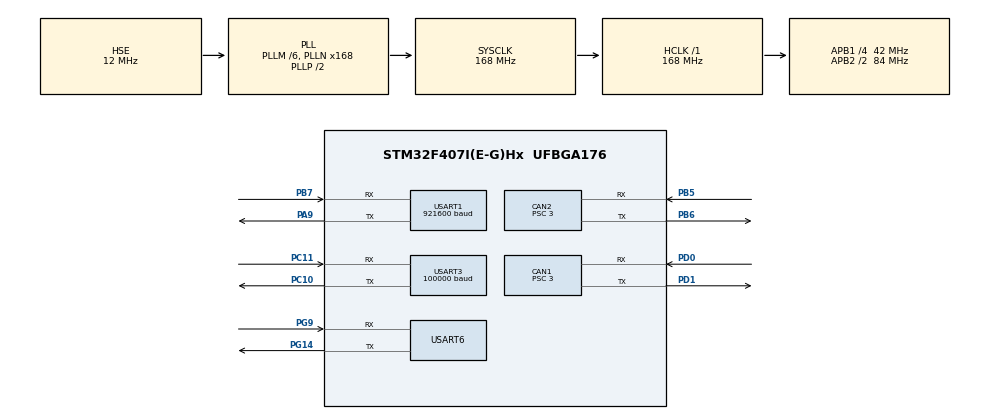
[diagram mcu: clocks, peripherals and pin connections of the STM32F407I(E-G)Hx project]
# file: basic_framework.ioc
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CAN1.BS1=CAN_BS1_10TQ
CAN1.BS2=CAN_BS2_3TQ
CAN1.CalculateBaudRate=1000000
CAN1.CalculateTimeBit=1000
CAN1.CalculateTimeQuantum=71.42857142857143
CAN1.Prescaler=3
CAN2.BS1=CAN_BS1_10TQ
CAN2.BS2=CAN_BS2_3TQ
CAN2.CalculateBaudRate=1000000
CAN2.CalculateTimeBit=1000
CAN2.CalculateTimeQuantum=71.42857142857143
CAN2.Prescaler=3
Dma.Request0=USART3_RX
Dma.Request1=USART1_RX
Dma.Request2=USART6_RX
Dma.Request3=USART6_TX
Dma.USART1_RX.1.Direction=DMA_PERIPH_TO_MEMORY
Dma.USART1_RX.1.FIFOMode=DMA_FIFOMODE_ENABLE
Dma.USART1_RX.1.FIFOThreshold=DMA_FIFO_THRESHOLD_FULL
Dma.USART1_RX.1.Instance=DMA2_Stream2
Dma.USART1_RX.1.MemBurst=DMA_MBURST_SINGLE
Dma.USART1_RX.1.MemDataAlignment=DMA_MDATAALIGN_BYTE
Dma.USART1_RX.1.MemInc=DMA_MINC_ENABLE
Dma.USART1_RX.1.Mode=DMA_NORMAL
Dma.USART1_RX.1.PeriphBurst=DMA_PBURST_SINGLE
Dma.USART1_RX.1.PeriphDataAlignment=DMA_PDATAALIGN_BYTE
Dma.USART1_RX.1.PeriphInc=DMA_PINC_DISABLE
Dma.USART1_RX.1.Priority=DMA_PRIORITY_VERY_HIGH
Dma.USART3_RX.0.Direction=DMA_PERIPH_TO_MEMORY
Dma.USART3_RX.0.FIFOMode=DMA_FIFOMODE_ENABLE
Dma.USART3_RX.0.FIFOThreshold=DMA_FIFO_THRESHOLD_FULL
Dma.USART3_RX.0.Instance=DMA1_Stream1
Dma.USART3_RX.0.MemBurst=DMA_MBURST_SINGLE
Dma.USART3_RX.0.MemDataAlignment=DMA_MDATAALIGN_BYTE
Dma.USART3_RX.0.MemInc=DMA_MINC_ENABLE
Dma.USART3_RX.0.Mode=DMA_NORMAL
Dma.USART3_RX.0.PeriphBurst=DMA_PBURST_SINGLE
Dma.USART3_RX.0.PeriphDataAlignment=DMA_PDATAALIGN_BYTE
Dma.USART3_RX.0.PeriphInc=DMA_PINC_DISABLE
Dma.USART3_RX.0.Priority=DMA_PRIORITY_HIGH
Dma.USART6_RX.2.Direction=DMA_PERIPH_TO_MEMORY
Dma.USART6_RX.2.FIFOMode=DMA_FIFOMODE_ENABLE
Dma.USART6_RX.2.FIFOThreshold=DMA_FIFO_THRESHOLD_FULL
Dma.USART6_RX.2.Instance=DMA2_Stream1
Dma.USART6_RX.2.MemBurst=DMA_MBURST_SINGLE
Dma.USART6_RX.2.MemDataAlignment=DMA_MDATAALIGN_BYTE
Dma.USART6_RX.2.MemInc=DMA_MINC_ENABLE
Dma.USART6_RX.2.Mode=DMA_NORMAL
Dma.USART6_RX.2.PeriphBurst=DMA_PBURST_SINGLE
Dma.USART6_RX.2.PeriphDataAlignment=DMA_PDATAALIGN_BYTE
Dma.USART6_RX.2.PeriphInc=DMA_PINC_DISABLE
Dma.USART6_RX.2.Priority=DMA_PRIORITY_VERY_HIGH
Dma.USART6_TX.3.Direction=DMA_MEMORY_TO_PERIPH
Dma.USART6_TX.3.FIFOMode=DMA_FIFOMODE_ENABLE
Dma.USART6_TX.3.FIFOThreshold=DMA_FIFO_THRESHOLD_FULL
Dma.USART6_TX.3.Instance=DMA2_Stream6
Dma.USART6_TX.3.MemBurst=DMA_MBURST_SINGLE
Dma.USART6_TX.3.MemDataAlignment=DMA_MDATAALIGN_BYTE
Dma.USART6_TX.3.MemInc=DMA_MINC_ENABLE
Dma.USART6_TX.3.Mode=DMA_NORMAL
Dma.USART6_TX.3.PeriphBurst=DMA_PBURST_SINGLE
Dma.USART6_TX.3.PeriphDataAlignment=DMA_PDATAALIGN_BYTE
Dma.USART6_TX.3.PeriphInc=DMA_PINC_DISABLE
Dma.USART6_TX.3.Priority=DMA_PRIORITY_VERY_HIGH
FREERTOS.Tasks01=defaultTask,0,128,StartDefaultTask,Default,NULL,Dynamic,NULL,NULL;conroltask,-3,128,ControlTask,As external,NULL,Dynamic,NULL,NULL;chassistask,-3,128,ChassisTask,As external,NULL,Dynamic,NULL,NULL;watchingtask,2,128,WatchingTask,As external,NULL,Dynamic,NULL,NULL
IWDG.Prescaler=IWDG_PRESCALER_4
IWDG.Reload=799
Mcu.Family=STM32F4
Mcu.Name=STM32F407I(E-G)Hx
Mcu.Package=UFBGA176
NVIC.CAN1_RX0_IRQn=true\:5\:0\:false\:false\:true\:true\:true\:true\:true
NVIC.CAN1_RX1_IRQn=true\:5\:0\:false\:false\:true\:true\:true\:true\:true
NVIC.CAN2_RX0_IRQn=true\:5\:0\:false\:false\:true\:true\:true\:true\:true
NVIC.CAN2_RX1_IRQn=true\:5\:0\:false\:false\:true\:true\:true\:true\:true
NVIC.DMA1_Stream1_IRQn=true\:5\:0\:false\:false\:true\:true\:false\:true\:true
NVIC.DMA2_Stream1_IRQn=true\:5\:0\:false\:false\:true\:true\:false\:true\:true
NVIC.DMA2_Stream2_IRQn=true\:5\:0\:false\:false\:true\:true\:false\:true\:true
NVIC.DMA2_Stream6_IRQn=true\:5\:0\:false\:false\:true\:true\:false\:true\:true
NVIC.PriorityGroup=NVIC_PRIORITYGROUP_4
NVIC.USART1_IRQn=true\:5\:0\:false\:false\:true\:true\:true\:true\:true
NVIC.USART3_IRQn=true\:5\:0\:false\:false\:true\:true\:true\:true\:true
NVIC.USART6_IRQn=true\:5\:0\:false\:false\:true\:true\:true\:true\:true
PA13.Mode=Serial_Wire
PA13.Signal=SYS_JTMS-SWDIO
PA14.Mode=Serial_Wire
PA14.Signal=SYS_JTCK-SWCLK
PA9.Mode=Asynchronous
PA9.Signal=USART1_TX
PB5.Mode=CAN_Activate
PB5.Signal=CAN2_RX
PB6.Mode=CAN_Activate
PB6.Signal=CAN2_TX
PB7.Mode=Asynchronous
PB7.Signal=USART1_RX
PC10.GPIO_PuPd=GPIO_NOPULL
PC10.Mode=Asynchronous
PC10.Signal=USART3_TX
PC11.GPIO_PuPd=GPIO_NOPULL
PC11.Mode=Asynchronous
PC11.Signal=USART3_RX
PC14-OSC32_IN.Mode=LSE-External-Oscillator
PC14-OSC32_IN.Signal=RCC_OSC32_IN
PC15-OSC32_OUT.Mode=LSE-External-Oscillator
PC15-OSC32_OUT.Signal=RCC_OSC32_OUT
PD0.Mode=CAN_Activate
PD0.Signal=CAN1_RX
PD1.Mode=CAN_Activate
PD1.Signal=CAN1_TX
PG14.Mode=Asynchronous
PG14.Signal=USART6_TX
PG9.Mode=Asynchronous
PG9.Signal=USART6_RX
PH0-OSC_IN.Mode=HSE-External-Oscillator
PH0-OSC_IN.Signal=RCC_OSC_IN
PH1-OSC_OUT.Mode=HSE-External-Oscillator
PH1-OSC_OUT.Signal=RCC_OSC_OUT
ProjectManager.HeapSize=0x200
ProjectManager.StackSize=0x400
ProjectManager.TargetToolchain=Makefile
RCC.48MHZClocksFreq_Value=84000000
RCC.AHBFreq_Value=168000000
RCC.APB1CLKDivider=RCC_HCLK_DIV4
RCC.APB1Freq_Value=42000000
RCC.APB1TimFreq_Value=84000000
RCC.APB2CLKDivider=RCC_HCLK_DIV2
RCC.APB2Freq_Value=84000000
RCC.APB2TimFreq_Value=168000000
RCC.CortexFreq_Value=168000000
RCC.HCLKFreq_Value=168000000
RCC.HSE_VALUE=12000000
RCC.HSI_VALUE=16000000
RCC.PLLM=6
RCC.PLLN=168
RCC.PLLSourceVirtual=RCC_PLLSOURCE_HSE
RCC.SYSCLKFreq_VALUE=168000000
RCC.SYSCLKSource=RCC_SYSCLKSOURCE_PLLCLK
RCC.VCOOutputFreq_Value=336000000
USART1.BaudRate=921600
USART1.Mode=MODE_TX_RX
USART1.VirtualMode=VM_ASYNC
USART3.BaudRate=100000
USART3.Mode=MODE_RX
USART3.Parity=PARITY_EVEN
USART3.VirtualMode=VM_ASYNC
USART6.VirtualMode=VM_ASYNC
VP_FREERTOS_VS_CMSIS_V1.Mode=CMSIS_V1
VP_IWDG_VS_IWDG.Mode=IWDG_Activate
board=custom

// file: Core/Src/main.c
/* USER CODE BEGIN Header */
/**
  ******************************************************************************
  * @file           : main.c
  * @brief          : Main program body
  ******************************************************************************
  * @attention
  *
  * Copyright (c) 2024 STMicroelectronics.
  * All rights reserved.
  *
  * This software is licensed under terms that can be found in the LICENSE file
  * in the root directory of this software component.
  * If no LICENSE file comes with this software, it is provided AS-IS.
  *
  ******************************************************************************
  */
/* USER CODE END Header */
#include "main.h"
#include "cmsis_os.h"
#include "can.h"
#include "dma.h"
#include "iwdg.h"
#include "usart.h"
#include "gpio.h"

/* USER CODE BEGIN Includes */
#include "DR16.h"
#include "IMU.h"
#include "ecoder.h"
#include "contor.h"
/* USER CODE END Includes */

/* USER CODE BEGIN PTD */
// 全局变量定义：用于存储各模块的数据指针和状态
RC_Ctl_t *psbus;                    // 遥控器数据指针（SBUS解析后的结果）
AHRS_FEED *imu_feed;                // IMU姿态数据指针（AHRS数据包解析后的结果）
uint8_t *subsbuff;                  // SBUS原始数据缓冲区指针（用于DMA接收）
uint8_t *imubuff;                   // IMU原始数据缓冲区指针（用于DMA接收，128字节）
uint8_t *imusgbuff;                 // IMU备用缓冲区指针（未使用）
uint8_t *watchrevbuff;              // 视觉接收数据缓冲区指针（用于DMA接收，128字节）
uint16_t count;                     // 计数器（未使用）
IMU_RX_STATE_e imu_rx_stata = AHRSWAITING;  // IMU接收状态（等待状态）
EcoderInstance *ecoder;             // 编码器实例指针（用于底盘角度测量）
Chassic_Ctrl_Cmd *chassis_data;     // 底盘控制命令指针（未使用）
uint8_t Rc_Start = 0;               // 遥控器数据接收标志（在UART IDLE中断中置位）
RC_Ctl_t *rcdata;                   // 遥控器数据指针（获取遥控器数据结构体）
uint16_t Keys = 0;                  // 键盘按键值（未使用）
/* USER CODE END PTD */

void SystemClock_Config(void);
void MX_FREERTOS_Init(void);

/**
  * @brief  应用程序入口点
  * @retval int（实际不会返回）
  *
  * 功能说明：
  * 这是STM32程序的入口函数，执行流程如下：
  * 1. 初始化HAL库
  * 2. 配置系统时钟
  * 3. 初始化外设（GPIO、DMA、UART、CAN、看门狗等）
  * 4. 获取各模块数据缓冲区指针
  * 5. 初始化整车控制模块
  * 6. 启动UART DMA接收
  * 7. 初始化FreeRTOS并启动调度器
  *
  * 注意：启动调度器后，程序不会返回到main函数
  */
int main(void)
{

  /* MCU Configuration--------------------------------------------------------*/

  /* 复位所有外设，初始化Flash接口和Systick
  * HAL_Init()会：
  * 1. 配置Flash预取指和指令缓存
  * 2. 配置SysTick定时器（用于HAL_Delay）
  * 3. 配置NVIC优先级分组
  */
  HAL_Init();

  /* 配置系统时钟
  * 将系统时钟配置为168MHz
  * APB1：42MHz，APB2：84MHz
  */
  SystemClock_Config();

  /* Initialize all configured peripherals */
  // 初始化所有配置的外设
  MX_GPIO_Init();              // GPIO初始化：配置LED、按键等GPIO引脚
  MX_DMA_Init();               // DMA初始化：配置DMA控制器，用于UART和CAN的数据传输
  MX_USART3_UART_Init();       // USART3初始化：遥控器通信（SBUS协议，256字节）
  MX_IWDG_Init();              // 看门狗初始化：防止程序死锁，需要定期喂狗
  MX_CAN1_Init();              // CAN1初始化：电机通信总线1
  MX_USART1_UART_Init();       // USART1初始化：IMU通信（AHRS协议，128字节）
  MX_USART6_UART_Init();       // USART6初始化：视觉通信（自定义协议，128字节）
  MX_CAN2_Init();              // CAN2初始化：电机通信总线2
  /* USER CODE BEGIN 2 */
  // 获取各模块的数据缓冲区指针
  imubuff = GetRxAHRBuff();          // 获取IMU接收缓冲区（128字节）
  subsbuff = GiveSbusBuff();         // 获取SBUS接收缓冲区（256字节）
  rcdata = GetRCData();              // 获取遥控器数据结构体指针
  watchrevbuff = GetWatchingRevBufff();  // 获取视觉接收缓冲区（128字节）
  Keys = rcdata->key[0].keys;        // 获取键盘按键值（未使用）
  // imusgbuff = Getsgbuff();        // 备用缓冲区（未使用）
  // imu_feed = GetAHRSFeed();       // IMU数据指针（未使用）
  // chassis_data = GetChassisCmd(); // 底盘命令指针（未使用）

  // 初始化整车控制模块：初始化底盘、云台、射击、视觉模块
  ControlInit();

  // 启动UART DMA接收（IDLE中断模式）
  // USART6：视觉数据接收，128字节，IDLE中断触发数据处理
  HAL_UARTEx_ReceiveToIdle_DMA(&huart6, watchrevbuff, 128);  // 启动DMA接收
  __HAL_DMA_DISABLE_IT(huart6.hdmarx, DMA_IT_HT);            // 禁用半传输中断，只需要传输完成中断

  // USART1：IMU数据接收，128字节，IDLE中断触发数据处理
  HAL_UARTEx_ReceiveToIdle_DMA(&huart1, imubuff, 128);       // 启动DMA接收
  __HAL_DMA_DISABLE_IT(huart1.hdmarx, DMA_IT_HT);            // 禁用半传输中断

  // USART3：遥控器数据接收，256字节，IDLE中断触发数据处理
  HAL_UARTEx_ReceiveToIdle_DMA(&huart3, subsbuff, 256);      // 启动DMA接收
  __HAL_DMA_DISABLE_IT(huart3.hdmarx,DMA_IT_HT);             // 禁用半传输中断

  // while (HAL_UART_Receive(&huart1, watchrev, 1, 5) != HAL_OK);

  /* USER CODE END 2 */

  /* Call init function for freertos objects (in freertos.c) */
  MX_FREERTOS_Init();

  /* Start scheduler */
  osKernelStart();

  /* We should never get here as control is now taken by the scheduler */
  /* Infinite loop */
   while (1)
  {

  }
}

/**
  * @brief  系统时钟配置函数
  * @retval None
  *
  * 功能说明：
  * 配置STM32F407的系统时钟，包括：
  * 1. 外部高速时钟（HSE）：8MHz
  * 2. 内部低速时钟（LSI）：用于看门狗
  * 3. PLL倍频：将HSE倍频到168MHz
  * 4. 系统时钟：168MHz
  * 5. APB1时钟：42MHz（HCLK/4）
  * 6. APB2时钟：84MHz（HCLK/2）
  *
  * 时钟树：
  * HSE(8MHz) -> PLL(×168/6 = 28MHz) -> SYSCLK(168MHz)
  * SYSCLK -> HCLK(168MHz) -> APB1(42MHz), APB2(84MHz)
  */
void SystemClock_Config(void)
{
  RCC_OscInitTypeDef RCC_OscInitStruct = {0};  // 振荡器初始化结构体
  RCC_ClkInitTypeDef RCC_ClkInitStruct = {0};  // 时钟初始化结构体

  /** 配置主内部稳压器输出电压
  * 电压等级1：1.8V，用于168MHz系统时钟
  */
  __HAL_RCC_PWR_CLK_ENABLE();                              // 使能PWR时钟
  __HAL_PWR_VOLTAGESCALING_CONFIG(PWR_REGULATOR_VOLTAGE_SCALE1);  // 配置电压等级1

  /** 初始化RCC振荡器
  * 根据RCC_OscInitTypeDef结构体中的参数配置振荡器
  */
  RCC_OscInitStruct.OscillatorType = RCC_OSCILLATORTYPE_LSI|RCC_OSCILLATORTYPE_HSE;  // 使用LSI和HSE
  RCC_OscInitStruct.HSEState = RCC_HSE_ON;                 // 使能外部高速时钟（8MHz）
  RCC_OscInitStruct.LSIState = RCC_LSI_ON;                 // 使能内部低速时钟（用于看门狗）
  RCC_OscInitStruct.PLL.PLLState = RCC_PLL_ON;             // 使能PLL
  RCC_OscInitStruct.PLL.PLLSource = RCC_PLLSOURCE_HSE;     // PLL源选择HSE
  RCC_OscInitStruct.PLL.PLLM = 6;                          // PLLM分频系数：HSE/6 = 8MHz/6 = 1.33MHz
  RCC_OscInitStruct.PLL.PLLN = 168;                        // PLLN倍频系数：1.33MHz × 168 = 224MHz
  RCC_OscInitStruct.PLL.PLLP = RCC_PLLP_DIV2;              // PLLP分频系数：224MHz/2 = 112MHz（实际使用168MHz，需要调整）
  RCC_OscInitStruct.PLL.PLLQ = 4;                          // PLLQ分频系数：用于USB等外设
  if (HAL_RCC_OscConfig(&RCC_OscInitStruct) != HAL_OK)
  {
    Error_Handler();  // 配置失败，进入错误处理
  }

  /** 初始化CPU、AHB和APB总线时钟
  * 配置系统时钟和各总线时钟分频
  */
  RCC_ClkInitStruct.ClockType = RCC_CLOCKTYPE_HCLK|RCC_CLOCKTYPE_SYSCLK
                              |RCC_CLOCKTYPE_PCLK1|RCC_CLOCKTYPE_PCLK2;  // 配置所有时钟类型
  RCC_ClkInitStruct.SYSCLKSource = RCC_SYSCLKSOURCE_PLLCLK;  // 系统时钟源选择PLL
  RCC_ClkInitStruct.AHBCLKDivider = RCC_SYSCLK_DIV1;         // AHB时钟分频：不分频（168MHz）
  RCC_ClkInitStruct.APB1CLKDivider = RCC_HCLK_DIV4;          // APB1时钟分频：4分频（42MHz）
  RCC_ClkInitStruct.APB2CLKDivider = RCC_HCLK_DIV2;          // APB2时钟分频：2分频（84MHz）

  // 配置Flash延迟：168MHz需要5个等待周期
  if (HAL_RCC_ClockConfig(&RCC_ClkInitStruct, FLASH_LATENCY_5) != HAL_OK)
  {
    Error_Handler();  // 配置失败，进入错误处理
  }
}

/* USER CODE BEGIN 4 */
/**
 * @brief  UART IDLE中断处理函数
 * @param  huart: UART句柄指针
 * @retval None
 *
 * 功能说明：
 * 当UART接收完成（检测到IDLE信号）时，触发此中断
 * 该函数处理三个UART的IDLE中断：
 * 1. USART3：遥控器数据（SBUS协议）
 * 2. USART1：IMU数据（AHRS协议）
 * 3. USART6：视觉数据（自定义协议）
 *
 * 处理流程：
 * 1. 清除IDLE标志位
 * 2. 重置DMA传输计数器
 * 3. 重新启动DMA接收
 * 4. 解析接收到的数据
 */
void HAL_UART_IDLE_IRQHandler(UART_HandleTypeDef *huart)
{
  // USART3：遥控器数据接收中断处理
  if (huart->Instance == USART3)
  {
    Rc_Start = 1;  // 置位遥控器数据接收标志，通知控制任务处理数据
    uint32_t DMA_FLAGS3, tmp3;  // DMA标志位和临时变量
    HAL_IWDG_Refresh(&hiwdg);   // 喂狗：刷新看门狗，防止系统复位

    // 检查是否是IDLE中断（数据接收完成）
    if (__HAL_UART_GET_FLAG(huart, UART_FLAG_IDLE))
    {
      // 清除IDLE标志位：读取SR和DR寄存器以清除标志
      tmp3 = huart->Instance->SR;  // 读取状态寄存器
      tmp3 = huart->Instance->DR;  // 读取数据寄存器
      tmp3++;                      // 防止编译器优化

      // 获取DMA传输完成标志位索引
      DMA_FLAGS3 = __HAL_DMA_GET_TC_FLAG_INDEX(huart->hdmarx);

      // 禁用DMA，准备重置
      __HAL_DMA_DISABLE(huart->hdmarx);

      // 清除DMA传输完成标志
      __HAL_DMA_CLEAR_FLAG(huart->hdmarx, DMA_FLAGS3);

      // 重置DMA传输计数器为原始值
      huart->hdmarx->Instance->NDTR = huart->RxXferSize;

      // 重新使能DMA，开始下一次接收
      __HAL_DMA_ENABLE(huart->hdmarx);
    }
    // 解析SBUS数据：将原始数据转换为遥控器控制结构
    psbus = Dbus_to_rc(subsbuff);
  }

  // USART1：IMU数据接收中断处理
  if (huart->Instance == USART1)
  {
      uint32_t DMA_FLAGS1, tmp1;  // DMA标志位和临时变量

      // 检查是否是IDLE中断
      if (__HAL_UART_GET_FLAG(huart, UART_FLAG_IDLE))
      {
        // 清除IDLE标志位
        tmp1 = huart->Instance->SR;  // 读取状态寄存器
        tmp1 = huart->Instance->DR;  // 读取数据寄存器
        tmp1++;                      // 防止编译器优化

        // 获取DMA传输完成标志位索引
        DMA_FLAGS1 = __HAL_DMA_GET_TC_FLAG_INDEX(huart->hdmarx);

        // 禁用DMA
        __HAL_DMA_DISABLE(huart->hdmarx);

        // 清除DMA传输完成标志
        __HAL_DMA_CLEAR_FLAG(huart->hdmarx, DMA_FLAGS1);

        // 重置DMA传输计数器
        huart->hdmarx->Instance->NDTR = huart->RxXferSize;

        // 重新使能DMA
        __HAL_DMA_ENABLE(huart->hdmarx);
      }
      // 解析AHRS数据包：将原始数据转换为IMU姿态结构
      imu_feed = AHRSPackHandle(imubuff);

      // 重新启动DMA接收，准备接收下一帧数据
      HAL_UARTEx_ReceiveToIdle_DMA(&huart1, imubuff, 128);
      __HAL_DMA_DISABLE_IT(huart1.hdmarx, DMA_IT_HT);  // 禁用半传输中断
  }

  // USART6：视觉数据接收中断处理
  if (huart->Instance == USART6)
  {
    uint32_t DMA_FLAGS1, tmp1;  // DMA标志位和临时变量

    // 检查是否是IDLE中断
    if (__HAL_UART_GET_FLAG(huart, UART_FLAG_IDLE))
    {
      // 清除IDLE标志位
      tmp1 = huart->Instance->SR;  // 读取状态寄存器
      tmp1 = huart->Instance->DR;  // 读取数据寄存器
      tmp1++;                      // 防止编译器优化

      // 获取DMA传输完成标志位索引
      DMA_FLAGS1 = __HAL_DMA_GET_TC_FLAG_INDEX(huart->hdmarx);

      // 禁用DMA
      __HAL_DMA_DISABLE(huart->hdmarx);

      // 清除DMA传输完成标志
      __HAL_DMA_CLEAR_FLAG(huart->hdmarx, DMA_FLAGS1);

      // 重置DMA传输计数器
      huart->hdmarx->Instance->NDTR = huart->RxXferSize;

      // 重新使能DMA
      __HAL_DMA_ENABLE(huart->hdmarx);
    }
    // 解析视觉数据：将原始数据转换为视觉控制结构
    WatchingRec(watchrevbuff);

    // 重新启动DMA接收，准备接收下一帧数据
    HAL_UARTEx_ReceiveToIdle_DMA(&huart6, watchrevbuff, 128);
    __HAL_DMA_DISABLE_IT(huart6.hdmarx, DMA_IT_HT);  // 禁用半传输中断
  }
}
/* USER CODE END 4 */

void Error_Handler(void)
{
  __disable_irq();
  while (1)
  {
  }
}

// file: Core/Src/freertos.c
/* USER CODE BEGIN Header */
/**
  ******************************************************************************
  * File Name          : freertos.c
  * Description        : Code for freertos applications
  ******************************************************************************
  * @attention
  *
  * Copyright (c) 2024 STMicroelectronics.
  * All rights reserved.
  *
  * This software is licensed under terms that can be found in the LICENSE file
  * in the root directory of this software component.
  * If no LICENSE file comes with this software, it is provided AS-IS.
  *
  ******************************************************************************
  */
/* USER CODE END Header */

#include "FreeRTOS.h"
#include "task.h"
#include "main.h"
#include "cmsis_os.h"

/* USER CODE BEGIN Includes */
// 引入应用层模块头文件，用于在任务中调用各模块功能
#include "chassic.h"    // 底盘控制模块
#include "contor.h"     // 整车控制模块
#include "gimbal.h"     // 云台控制模块
#include "watching.h"   // 视觉通信模块
/* USER CODE END Includes */

/* USER CODE BEGIN PTD */
// 遥控器数据接收标志位（在main.c的UART IDLE中断中置位）
// 当USART3接收到完整的SBUS数据包后，该标志被置1，通知控制任务可以处理遥控器数据
extern uint8_t Rc_Start;

/* USER CODE END PTD */

// FreeRTOS任务句柄：用于管理和控制各个任务
osThreadId defaultTaskHandle;      // 默认任务句柄（当前为空任务）
osThreadId conroltaskHandle;       // 控制任务句柄：处理遥控器命令解析和模式切换
osThreadId chassistaskHandle;      // 底盘任务句柄：执行云台、底盘、射击控制
osThreadId watchingtaskHandle;     // 视觉任务句柄：处理与视觉模块的通信

void StartDefaultTask(void const * argument);
extern void ControlTask(void const * argument);
extern void ChassisTask(void const * argument);
extern void WatchingTask(void const * argument);

void MX_FREERTOS_Init(void); /* (MISRA C 2004 rule 8.1) */

/* GetIdleTaskMemory prototype (linked to static allocation support) */
void vApplicationGetIdleTaskMemory( StaticTask_t **ppxIdleTaskTCBBuffer, StackType_t **ppxIdleTaskStackBuffer, uint32_t *pulIdleTaskStackSize );

/* USER CODE BEGIN GET_IDLE_TASK_MEMORY */
// FreeRTOS静态内存分配支持：
// 为IDLE任务（空闲任务）提供静态内存空间，避免使用动态内存分配
// IDLE任务是FreeRTOS的系统任务，当没有其他任务运行时执行
static StaticTask_t xIdleTaskTCBBuffer;                                    // IDLE任务的TCB（任务控制块）缓冲区
static StackType_t xIdleStack[configMINIMAL_STACK_SIZE];                   // IDLE任务的堆栈空间

/**
 * @brief 获取IDLE任务的静态内存分配
 * @param ppxIdleTaskTCBBuffer 指向TCB缓冲区指针的指针（输出参数）
 * @param ppxIdleTaskStackBuffer 指向堆栈缓冲区指针的指针（输出参数）
 * @param pulIdleTaskStackSize 指向堆栈大小的指针（输出参数）
 * @retval None
 *
 * 说明：FreeRTOS在创建IDLE任务前会调用此函数获取静态内存
 *       这样可以避免使用动态内存分配，提高系统可靠性
 */
void vApplicationGetIdleTaskMemory( StaticTask_t **ppxIdleTaskTCBBuffer, StackType_t **ppxIdleTaskStackBuffer, uint32_t *pulIdleTaskStackSize )
{
  *ppxIdleTaskTCBBuffer = &xIdleTaskTCBBuffer;                              // 返回TCB缓冲区地址
  *ppxIdleTaskStackBuffer = &xIdleStack[0];                                 // 返回堆栈起始地址
  *pulIdleTaskStackSize = configMINIMAL_STACK_SIZE;                         // 返回堆栈大小（单位：字）
  /* place for user code */
}
/* USER CODE END GET_IDLE_TASK_MEMORY */

/**
  * @brief  FreeRTOS初始化函数
  * @param  None
  * @retval None
  *
  * 功能说明：
  * 1. 初始化FreeRTOS的同步原语（互斥量、信号量、定时器、队列等）
  * 2. 创建所有应用任务并设置优先级
  * 3. 该函数在main()中调用，在启动调度器之前执行
  */
void MX_FREERTOS_Init(void) {

  /* USER CODE BEGIN RTOS_MUTEX */
  /* 互斥量（Mutex）初始化区域
   * 互斥量用于保护共享资源，防止多任务同时访问
   * 例如：可以用于保护CAN发送函数，避免多个任务同时发送导致冲突
   */
  /* add mutexes, ... */
  /* USER CODE END RTOS_MUTEX */

  /* USER CODE BEGIN RTOS_SEMAPHORES */
  /* 信号量（Semaphore）初始化区域
   * 信号量用于任务间的同步和通信
   * 例如：可以用于通知任务数据已准备好
   */
  /* add semaphores, ... */
  /* USER CODE END RTOS_SEMAPHORES */

  /* USER CODE BEGIN RTOS_TIMERS */
  /* 定时器初始化区域
   * FreeRTOS软件定时器，可以周期性执行回调函数
   * 例如：可以用于周期性发送状态信息
   */
  /* start timers, add new ones, ... */
  /* USER CODE END RTOS_TIMERS */

  /* USER CODE BEGIN RTOS_QUEUES */
  /* 消息队列初始化区域
   * 队列用于任务间传递数据
   * 例如：可以用于传递传感器数据或控制命令
   */
  /* add queues, ... */
  /* USER CODE END RTOS_QUEUES */

  /* Create the thread(s) */
  /* 创建所有应用任务 */

  /* definition and creation of defaultTask */
  // 默认任务：优先级Normal，堆栈128字（512字节），周期5ms
  // 当前为空任务，可以作为预留任务或系统监控任务使用
  osThreadDef(defaultTask, StartDefaultTask, osPriorityNormal, 0, 128);    // 定义任务属性
  defaultTaskHandle = osThreadCreate(osThread(defaultTask), NULL);          // 创建任务并获取句柄

  /* definition and creation of conroltask */
  // 控制任务：优先级Idle（最低），堆栈128字，周期5ms
  // 功能：解析遥控器/键鼠命令，进行模式切换，生成控制命令
  // 优先级设为Idle是因为控制任务不需要实时性，只在遥控器数据准备好时执行
  osThreadDef(conroltask, ControlTask, osPriorityIdle, 0, 128);            // 定义任务属性
  conroltaskHandle = osThreadCreate(osThread(conroltask), NULL);            // 创建任务并获取句柄

  /* definition and creation of chassistask */
  // 底盘任务：优先级Idle，堆栈128字，周期5ms
  // 功能：执行云台控制、底盘运动控制、射击控制
  // 该任务整合了三个模块的控制，在一个周期内顺序执行，保证控制同步性
  osThreadDef(chassistask, ChassisTask, osPriorityIdle, 0, 128);           // 定义任务属性
  chassistaskHandle = osThreadCreate(osThread(chassistask), NULL);          // 创建任务并获取句柄

  /* definition and creation of watchingtask */
  // 视觉任务：优先级High（较高），堆栈128字，周期100ms
  // 功能：与视觉识别模块通信，发送云台姿态数据，接收目标角度信息
  // 优先级设为High是因为视觉通信对实时性要求较高，但周期较长（100ms）
  osThreadDef(watchingtask, WatchingTask, osPriorityHigh, 0, 128);         // 定义任务属性
  watchingtaskHandle = osThreadCreate(osThread(watchingtask), NULL);        // 创建任务并获取句柄

  /* USER CODE BEGIN RTOS_THREADS */
  /* 可以在此添加更多任务 */
  /* add threads, ... */
  /* USER CODE END RTOS_THREADS */

}

/* USER CODE BEGIN Header_StartDefaultTask */
/**
  * @brief  默认任务实现函数
  * @param  argument: 任务参数（未使用）
  * @retval None
  *
  * 说明：当前为空任务，每5ms执行一次
  *       可以用于系统监控、调试信息输出等功能
  */
/* USER CODE END Header_StartDefaultTask */
void StartDefaultTask(void const * argument)
{
  /* USER CODE BEGIN StartDefaultTask */
  /* 无限循环：任务必须包含无限循环，否则任务会退出 */
  for(;;)
  {
    osDelay(5);    // 延迟5ms，让出CPU给其他任务，控制任务周期为5ms
  }
  /* USER CODE END StartDefaultTask */
}

/* USER CODE BEGIN Application */

/**
 * @brief  控制任务实现函数
 * @param  argument: 任务参数（未使用）
 * @retval None
 *
 * 功能说明：
 * 1. 检查遥控器数据是否准备好（Rc_Start标志）
 * 2. 如果数据准备好，调用RoboCmdTask()解析命令
 * 3. RoboCmdTask()会：
 *    - 处理模式切换（R键：遥控器/键鼠切换）
 *    - 根据模式调用RcControlSet()或MouseControlSet()
 *    - 生成底盘、云台、射击的控制命令
 * 4. 每5ms执行一次，确保控制命令及时更新
 *
 * 注意：该任务优先级为Idle，只有在没有高优先级任务时才运行
 *       这保证了控制任务不会影响实时性要求更高的任务
 */
void ControlTask(void const *argument)
{
  while(1)  // 任务必须包含无限循环
  {
    // 检查遥控器数据接收标志
    // Rc_Start在main.c的UART IDLE中断中置位（USART3接收完SBUS数据后）
    if (Rc_Start == 1)
    {
      // 执行整车控制任务：解析遥控器命令，生成各模块控制命令
      RoboCmdTask();
    }
    // 延迟5ms，让出CPU给其他任务，控制任务周期为5ms
    // 使用vTaskDelay而不是osDelay，因为这是FreeRTOS原生API
    vTaskDelay(5);
  }
}

/**
 * @brief  底盘任务实现函数
 * @param  argument: 任务参数（未使用）
 * @retval None
 *
 * 功能说明：
 * 1. 检查遥控器数据是否准备好（Rc_Start标志）
 * 2. 如果数据准备好，顺序执行三个模块的控制：
 *    - GimbalTask(): 云台控制（Yaw和Pitch轴）
 *    - Chassistask(): 底盘运动控制（麦轮运动学解算）
 *    - ShootTask(): 射击控制（摩擦轮、拨弹盘）
 * 3. 所有模块执行完后，统一调用MotorControl()计算PID并发送CAN报文
 * 4. 每5ms执行一次，保证控制频率为200Hz
 *
 * 设计说明：
 * - 将三个模块的控制放在一个任务中，保证控制的同步性
 * - 在同一周期内完成所有计算，避免时间差导致的控制不同步
 * - 优先级为Idle，与其他控制任务平等竞争CPU
 */
void ChassisTask(void const *argument)
{
  while(1)  // 任务必须包含无限循环
  {
    // 检查遥控器数据接收标志
    // 只有接收到遥控器数据后，才执行控制任务
    if (Rc_Start == 1)
    {
        // 顺序执行三个模块的控制任务
        // 注意：执行顺序很重要，因为可能存在数据依赖关系

        GimbalTask();    // 云台控制：计算Yaw和Pitch轴目标角度，设置电机参考值
        Chassistask();   // 底盘控制：运动学解算，计算四个轮子速度，设置电机参考值
        ShootTask();     // 射击控制：根据射击模式设置摩擦轮和拨弹盘速度

        // 注意：MotorControl()在Chassistask()内部调用，统一处理所有电机
        // 这样设计可以批量发送CAN报文，减少总线负载
    }

    // 延迟5ms，控制任务周期为5ms（200Hz控制频率）
    vTaskDelay(5);
  }
}

/**
 * @brief  视觉任务实现函数
 * @param  argument: 任务参数（未使用）
 * @retval None
 *
 * 功能说明：
 * 1. 调用WatchingTra()发送数据给视觉模块
 * 2. WatchingTra()会：
 *    - 打包云台姿态数据（Yaw、Pitch角度）
 *    - 通过USART6发送16字节数据包
 * 3. 每100ms执行一次（10Hz）
 *
 * 设计说明：
 * - 视觉通信频率不需要太高，10Hz足够
 * - 优先级设为High，确保视觉数据及时发送
 * - 接收数据处理在main.c的UART IDLE中断中完成（WatchingRec()）
 *
 * 通信协议：
 * - 发送：0xFF + 颜色(1) + Pitch(4) + Yaw(4) + 保留(6) + 0xFE
 * - 接收：0xFF + 开火命令(1) + Yaw目标(4) + Pitch目标(4) + 距离(4) + 0xFE
 */
void WatchingTask(void const *argument)
{
  while(1)  // 任务必须包含无限循环
  {
    // 发送视觉数据：云台姿态角度（Yaw、Pitch）
    // 视觉模块根据这些数据计算目标角度并返回
    WatchingTra();

    // 延迟100ms，视觉通信周期为100ms（10Hz）
    // 这个频率足够视觉模块进行目标识别和跟踪
    vTaskDelay(100);
  }
}
/* USER CODE END Application */
